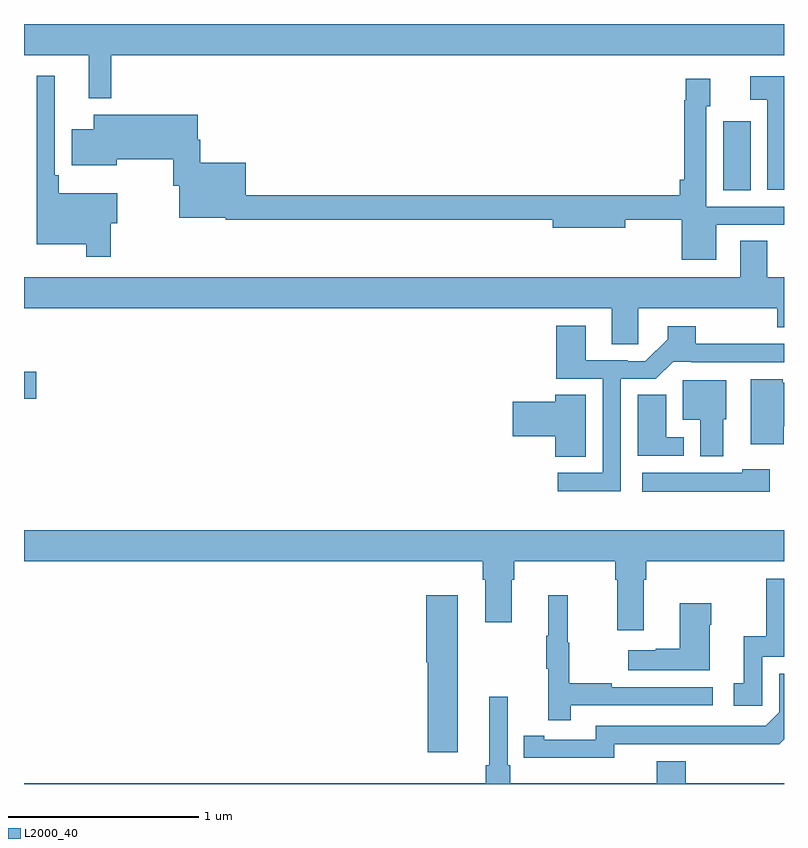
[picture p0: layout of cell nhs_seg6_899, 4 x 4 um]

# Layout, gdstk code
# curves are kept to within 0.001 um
import gdstk
lib = gdstk.Library(unit=1e-6, precision=1e-09)
def R(c, l, rs):  # rectangles x0, y0, x1, y1
    for r in rs: c.add(gdstk.rectangle(r[:2], r[2:], *l))
def P(c, l, *ps):  # polygons
    for p in ps: c.add(gdstk.Polygon(p, *l))
L2000_40 = (2000, 40)

nhs_seg6_899 = lib.new_cell('nhs_seg6_899')
R(nhs_seg6_899, L2000_40, [(167,945.527,167.065,945.669), (170.681,946.624,170.824,946.987)])
P(nhs_seg6_899, L2000_40, [(167.459,947.336),(171,947.336),(171,947.5),(167,947.5),(167,947.336),(167.342,947.336),(167.342,947.108),(167.459,947.108)],
  [(167.456,946.451),(167.491,946.451),(167.491,946.609),(167.183,946.609),(167.183,946.705),(167.163,946.705),(167.163,947.227),(167.066,947.227),(167.066,946.34),(167.328,946.34),(167.328,946.275),(167.456,946.275)],
  [(171,947.224),(170.823,947.224),(170.823,947.102),(170.912,947.102),(170.912,946.628),(171,946.628)],
  [(170.644,946.443),(171,946.443),(171,946.539),(170.592,946.539),(170.592,947.067),(170.611,947.067),(170.611,947.212),(170.484,947.212),(170.484,947.099),(170.476,947.099),(170.476,946.681),(170.45,946.681),(170.45,946.598),(168.166,946.598),(168.166,946.771),(167.927,946.771),(167.927,946.891),(167.914,946.891),(167.914,947.023),(167.366,947.023),(167.366,946.945),(167.252,946.945),(167.252,946.757),(167.488,946.757),(167.488,946.787),(167.786,946.787),(167.786,946.649),(167.816,946.649),(167.816,946.481),(168.062,946.481),(168.062,946.47),(169.784,946.47),(169.784,946.427),(170.164,946.427),(170.164,946.47),(170.462,946.47),(170.462,946.259),(170.644,946.259)],
  [(170.232,946.004),(170.965,946.004),(170.965,945.905),(171,945.905),(171,946.168),(170.911,946.168),(170.911,946.358),(170.771,946.358),(170.771,946.168),(167,946.168),(167,946.004),(170.093,946.004),(170.093,945.814),(170.232,945.814)],
  [(170.142,945.633),(170.326,945.633),(170.416,945.723),(170.512,945.723),(170.512,945.72),(171,945.72),(171,945.816),(170.876,945.816),(170.876,945.818),(170.535,945.818),(170.535,945.91),(170.387,945.91),(170.387,945.842),(170.271,945.726),(170.177,945.726),(170.177,945.729),(169.957,945.729),(169.957,945.913),(169.802,945.913),(169.802,945.633),(170.046,945.633),(170.046,945.138),(169.809,945.138),(169.809,945.041),(170.142,945.041)],
  [(170.998,945.383),(171,945.383),(171,945.613),(170.994,945.613),(170.994,945.631),(170.825,945.631),(170.825,945.287),(170.998,945.287)],
  [(170.68,945.42),(170.695,945.42),(170.695,945.625),(170.468,945.625),(170.468,945.416),(170.558,945.416),(170.558,945.224),(170.68,945.224)],
  [(169.957,945.548),(169.796,945.548),(169.796,945.512),(169.572,945.512),(169.572,945.329),(169.796,945.329),(169.796,945.223),(169.957,945.223)],
  [(170.473,945.324),(170.38,945.324),(170.38,945.548),(170.231,945.548),(170.231,945.228),(170.473,945.228)],
  [(170.926,945.157),(170.781,945.157),(170.781,945.139),(170.253,945.139),(170.253,945.038),(170.926,945.038)],
  [(167,944.672),(169.415,944.672),(169.415,944.576),(169.427,944.576),(169.427,944.352),(169.567,944.352),(169.567,944.576),(169.58,944.576),(169.58,944.672),(170.111,944.672),(170.111,944.576),(170.123,944.576),(170.123,944.31),(170.263,944.31),(170.263,944.576),(170.276,944.576),(170.276,944.672),(171,944.672),(171,944.836),(167,944.836)],
  [(170.886,944.169),(171,944.169),(171,944.58),(170.907,944.58),(170.907,944.278),(170.789,944.278),(170.789,944.031),(170.736,944.031),(170.736,943.911),(170.886,943.911)],
  [(169.877,943.914),(170.626,943.914),(170.626,944.01),(170.093,944.01),(170.093,944.03),(169.87,944.03),(169.87,944.244),(169.862,944.244),(169.862,944.494),(169.76,944.494),(169.76,944.281),(169.749,944.281),(169.749,944.107),(169.76,944.107),(169.76,943.836),(169.877,943.836)],
  [(169.282,944.494),(169.118,944.494),(169.118,944.142),(169.124,944.142),(169.124,943.668),(169.282,943.668)],
  [(170.608,944.339),(170.616,944.339),(170.616,944.452),(170.45,944.452),(170.45,944.213),(170.324,944.213),(170.324,944.203),(170.181,944.203),(170.181,944.099),(170.608,944.099)],
  [(170.106,943.71),(170.974,943.709),(171,943.735),(171,944.079),(170.976,944.079),(170.976,943.878),(170.904,943.806),(170.01,943.806),(170.01,943.734),(169.738,943.734),(169.738,943.754),(169.63,943.754),(169.63,943.638),(170.106,943.637)],
  [(171,943.504),(170.483,943.504),(170.483,943.621),(170.33,943.621),(170.33,943.504),(169.559,943.504),(169.559,943.6),(169.545,943.6),(169.545,943.96),(169.448,943.96),(169.448,943.6),(169.429,943.6),(169.429,943.504),(167,943.504),(167,943.5),(171,943.5)])

lib.write_gds('nhs_seg6_899.gds')
